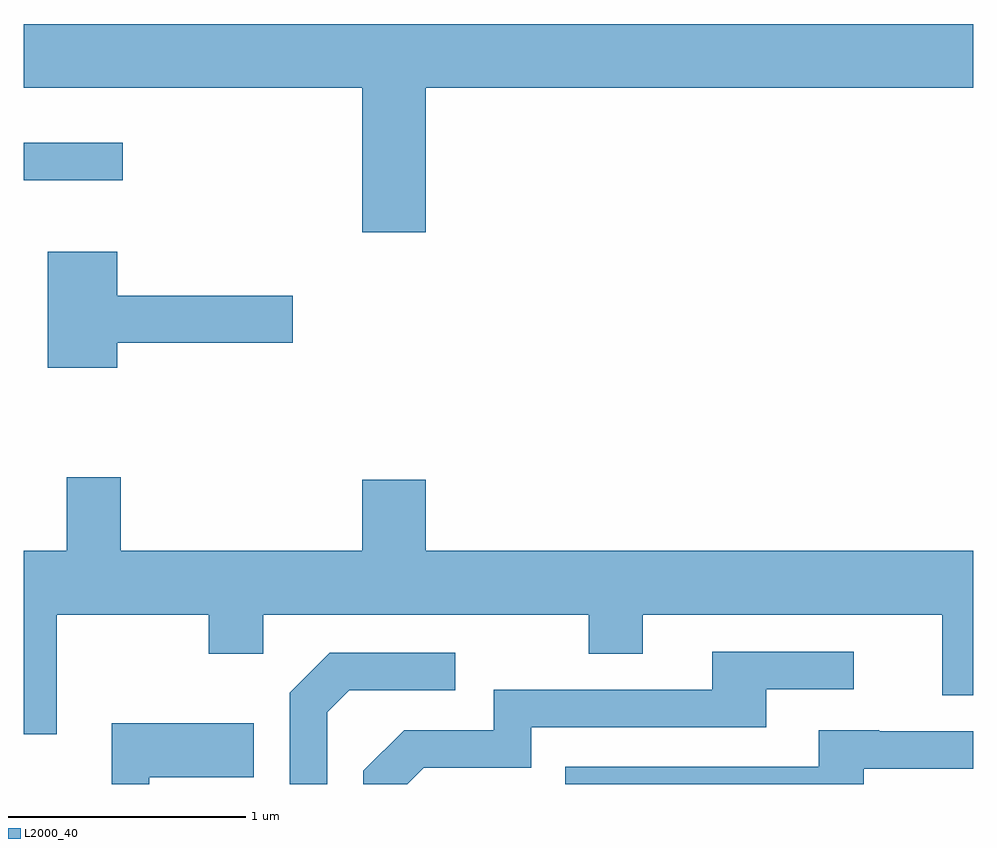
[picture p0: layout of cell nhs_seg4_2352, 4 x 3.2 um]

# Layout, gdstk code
import gdstk
lib = gdstk.Library(unit=1e-6, precision=1e-09)
def R(c, l, rs):  # rectangles x0, y0, x1, y1
    for r in rs: c.add(gdstk.rectangle(r[:2], r[2:], *l))
def P(c, l, *ps):  # polygons
    for p in ps: c.add(gdstk.Polygon(p, *l))
L2000_40 = (2000, 40)

nhs_seg4_2352 = lib.new_cell('nhs_seg4_2352')
R(nhs_seg4_2352, L2000_40, [(253.611,1336.526,254.028,1336.684)])
P(nhs_seg4_2352, L2000_40, [(255.304,1336.916),(257.611,1336.916),(257.611,1337.184),(253.611,1337.184),(253.611,1336.916),(255.036,1336.916),(255.036,1336.306),(255.304,1336.306)],
  [(254.004,1335.841),(254.744,1335.841),(254.744,1336.039),(254.004,1336.039),(254.004,1336.224),(253.711,1336.224),(253.711,1335.736),(254.004,1335.736)],
  [(253.611,1334.191),(253.749,1334.191),(253.749,1334.696),(254.391,1334.696),(254.391,1334.531),(254.619,1334.531),(254.619,1334.696),(255.991,1334.696),(255.991,1334.531),(256.219,1334.531),(256.219,1334.696),(257.481,1334.696),(257.481,1334.356),(257.611,1334.356),(257.611,1334.964),(255.304,1334.964),(255.304,1335.264),(255.036,1335.264),(255.036,1334.964),(254.019,1334.964),(254.019,1335.274),(253.791,1335.274),(253.791,1334.964),(253.611,1334.964)],
  [(255.297,1334.051),(255.749,1334.051),(255.749,1334.221),(256.739,1334.221),(256.739,1334.381),(257.108,1334.381),(257.108,1334.539),(256.511,1334.539),(256.511,1334.379),(255.591,1334.379),(255.591,1334.209),(255.214,1334.209),(255.041,1334.037),(255.041,1333.982),(255.227,1333.982)],
  [(254.889,1334.284),(254.982,1334.376),(255.428,1334.376),(255.428,1334.534),(254.899,1334.534),(254.731,1334.367),(254.731,1333.982),(254.889,1333.982)],
  [(254.139,1334.011),(254.579,1334.011),(254.579,1334.239),(253.981,1334.239),(253.981,1333.982),(254.139,1333.982)],
  [(257.149,1334.046),(257.611,1334.046),(257.611,1334.204),(257.215,1334.204),(257.215,1334.209),(256.961,1334.209),(256.961,1334.054),(255.893,1334.054),(255.893,1333.982),(257.149,1333.982)])

lib.write_gds('nhs_seg4_2352.gds')
